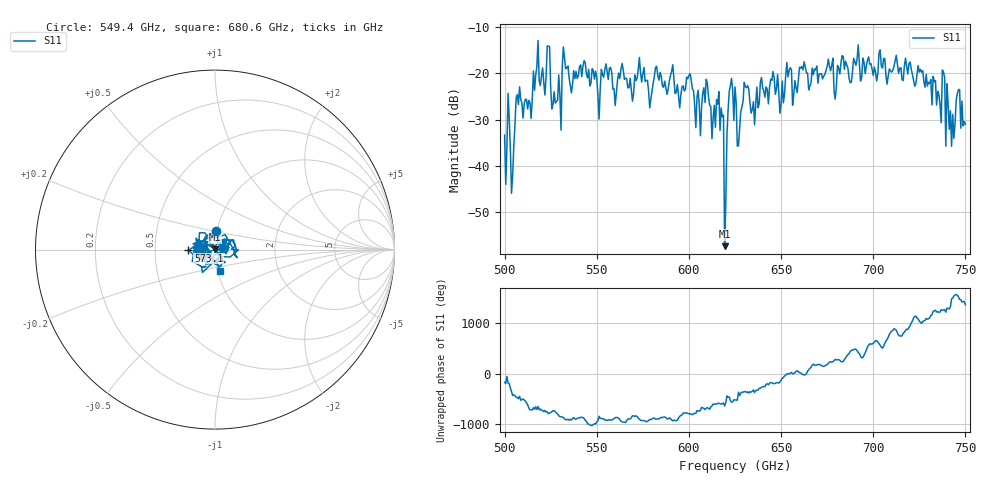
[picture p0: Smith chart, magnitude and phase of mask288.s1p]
!Created with skrf (http://scikit-rf.org).
# GHz S MA R 50.0
!freq magS11 angS11
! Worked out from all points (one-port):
!   401 points, 500 GHz to 750 GHz, reference 50 ohm
!   lowest |S11| = -57.3 dB at 619.4 GHz (marker M1), VSWR 1.00, Z = 50 + j0.136 ohm
!   |S11| at or under -10 dB: start of sweep to end of sweep
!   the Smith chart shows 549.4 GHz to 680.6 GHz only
!   S11 on the Smith chart (normalised r, x): 549.4 GHz: 0.99, +0.21; 573.1 GHz: 0.74, -0.01; 680.6 GHz: 1.03, -0.25
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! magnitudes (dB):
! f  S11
! 500 GHz  -33.3
! 504.4 GHz  -42.0
! 507.5 GHz  -26.7
! 513.8 GHz  -26.3
! 516.9 GHz  -20.4
! 523.8 GHz  -14.2
! 526.9 GHz  -24.0
! 531.2 GHz  -18.7
! 549.4 GHz  -19.6
! 562.5 GHz  -21.1
! 573.1 GHz  -16.6
! 593.8 GHz  -22.4
! 600 GHz  -20.5
! 605 GHz  -23.7
! 608.8 GHz  -26.3
! 616.2 GHz  -24.0
! 619.4 GHz  -57.3
! 620.6 GHz  -33.3
! 622.5 GHz  -22.6
! 625 GHz  -23.0
! 627.5 GHz  -32.2
! 631.2 GHz  -23.1
! 635 GHz  -26.1
! 656.2 GHz  -26.9
! 680.6 GHz  -18.3
! 687.5 GHz  -22.0
! 718.8 GHz  -20.2
! 750 GHz  -31.0
